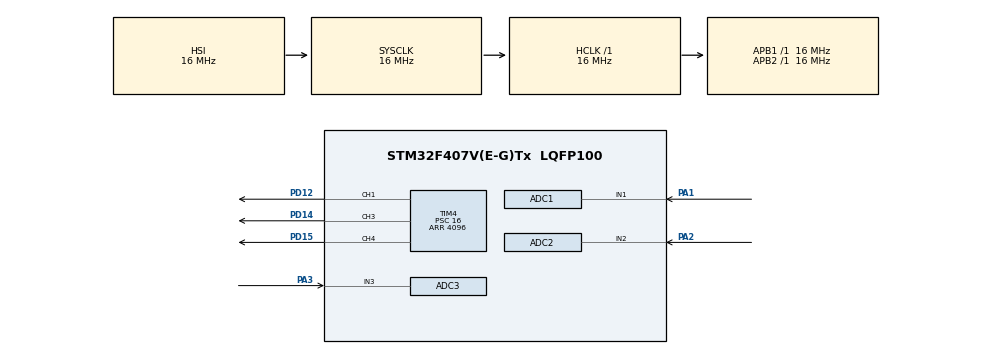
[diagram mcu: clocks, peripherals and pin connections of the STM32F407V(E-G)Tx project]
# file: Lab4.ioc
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ADC1.Channel-1\#ChannelRegularConversion=ADC_CHANNEL_1
ADC1.Mode=__NULL
ADC1.NbrOfConversionFlag=1
ADC1.Rank-1\#ChannelRegularConversion=1
ADC1.SamplingTime-1\#ChannelRegularConversion=ADC_SAMPLETIME_480CYCLES
ADC1.master=1
ADC2.Channel-3\#ChannelRegularConversion=ADC_CHANNEL_2
ADC2.NbrOfConversionFlag=1
ADC2.Rank-3\#ChannelRegularConversion=1
ADC2.SamplingTime-3\#ChannelRegularConversion=ADC_SAMPLETIME_3CYCLES
ADC3.Channel-4\#ChannelRegularConversion=ADC_CHANNEL_3
ADC3.NbrOfConversionFlag=1
ADC3.Rank-4\#ChannelRegularConversion=1
ADC3.SamplingTime-4\#ChannelRegularConversion=ADC_SAMPLETIME_3CYCLES
Mcu.Family=STM32F4
Mcu.Name=STM32F407V(E-G)Tx
Mcu.Package=LQFP100
NVIC.PriorityGroup=NVIC_PRIORITYGROUP_4
PA1.Signal=ADCx_IN1
PA2.Signal=ADCx_IN2
PA3.Signal=ADCx_IN3
PD12.Signal=S_TIM4_CH1
PD14.Signal=S_TIM4_CH3
PD15.Signal=S_TIM4_CH4
ProjectManager.HeapSize=0x200
ProjectManager.StackSize=0x400
ProjectManager.TargetToolchain=STM32CubeIDE
RCC.AHBFreq_Value=16000000
RCC.APB1Freq_Value=16000000
RCC.APB2Freq_Value=16000000
RCC.CortexFreq_Value=16000000
RCC.HSE_VALUE=25000000
RCC.HSI_VALUE=16000000
RCC.LSE_VALUE=32768
RCC.SYSCLKFreq_VALUE=16000000
RCC.VCOOutputFreq_Value=192000000
SH.ADCx_IN1.0=ADC1_IN1,IN1
SH.ADCx_IN2.0=ADC2_IN2,IN2
SH.ADCx_IN2.1=ADC1_IN2
SH.ADCx_IN3.0=ADC3_IN3,IN3
SH.ADCx_IN3.1=ADC1_IN3
SH.S_TIM4_CH1.0=TIM4_CH1,PWM Generation1 CH1
SH.S_TIM4_CH3.0=TIM4_CH3,PWM Generation3 CH3
SH.S_TIM4_CH4.0=TIM4_CH4,PWM Generation4 CH4
TIM4.Channel-PWM\ Generation1\ CH1=TIM_CHANNEL_1
TIM4.Channel-PWM\ Generation3\ CH3=TIM_CHANNEL_3
TIM4.Channel-PWM\ Generation4\ CH4=TIM_CHANNEL_4
TIM4.Period=4096
TIM4.Prescaler=16
VP_TIM4_VS_ClockSourceINT.Mode=Internal
board=custom

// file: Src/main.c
/* USER CODE BEGIN Header */
/**
  ******************************************************************************
  * @file           : main.c
  * @brief          : Main program body
  ******************************************************************************
  * @attention
  *
  * Copyright (c) 2024 STMicroelectronics.
  * All rights reserved.
  *
  * This software is licensed under terms that can be found in the LICENSE file
  * in the root directory of this software component.
  * If no LICENSE file comes with this software, it is provided AS-IS.
  *
  ******************************************************************************
  */
/* USER CODE END Header */
#include "main.h"

ADC_HandleTypeDef hadc1;
ADC_HandleTypeDef hadc2;
ADC_HandleTypeDef hadc3;

TIM_HandleTypeDef htim4;

void SystemClock_Config(void);
static void MX_GPIO_Init(void);
static void MX_ADC1_Init(void);
static void MX_TIM4_Init(void);
static void MX_ADC2_Init(void);
static void MX_ADC3_Init(void);

int main(void)
{

  /* MCU Configuration--------------------------------------------------------*/

  /* Reset of all peripherals, Initializes the Flash interface and the Systick. */
  HAL_Init();

  /* Configure the system clock */
  SystemClock_Config();

  /* Initialize all configured peripherals */
  MX_GPIO_Init();
  MX_ADC1_Init();
  MX_TIM4_Init();
  MX_ADC2_Init();
  MX_ADC3_Init();
  /* USER CODE BEGIN 2 */
  uint32_t adcValue = 0;
  volatile HAL_StatusTypeDef adcPoolResult;

  HAL_TIM_PWM_Start(&htim4, TIM_CHANNEL_1);
  TIM4->CCR1=0;
  HAL_TIM_PWM_Start(&htim4, TIM_CHANNEL_3);
  TIM4->CCR3=0;
  HAL_TIM_PWM_Start(&htim4, TIM_CHANNEL_4);
  TIM4->CCR4=0;

  /* USER CODE END 2 */

  /* Infinite loop */
  /* USER CODE BEGIN WHILE */
  while (1)
  {
	HAL_ADC_Start(&hadc1);
	adcPoolResult = HAL_ADC_PollForConversion(&hadc1, 10);
	if (adcPoolResult == HAL_OK)
	  TIM4->CCR3=HAL_ADC_GetValue(&hadc1);

	HAL_ADC_Start(&hadc2);
	adcPoolResult = HAL_ADC_PollForConversion(&hadc2, 10);
	if (adcPoolResult == HAL_OK)
	  TIM4->CCR1=HAL_ADC_GetValue(&hadc2);

	HAL_ADC_Start(&hadc3);
	adcPoolResult = HAL_ADC_PollForConversion(&hadc3, 10);
	if (adcPoolResult == HAL_OK)
	  TIM4->CCR4=HAL_ADC_GetValue(&hadc3);
    /* USER CODE END WHILE */

  }
}

void SystemClock_Config(void)
{
  RCC_OscInitTypeDef RCC_OscInitStruct = {0};
  RCC_ClkInitTypeDef RCC_ClkInitStruct = {0};

  /** Configure the main internal regulator output voltage
  */
  __HAL_RCC_PWR_CLK_ENABLE();
  __HAL_PWR_VOLTAGESCALING_CONFIG(PWR_REGULATOR_VOLTAGE_SCALE1);

  /** Initializes the RCC Oscillators according to the specified parameters
  * in the RCC_OscInitTypeDef structure.
  */
  RCC_OscInitStruct.OscillatorType = RCC_OSCILLATORTYPE_HSI;
  RCC_OscInitStruct.HSIState = RCC_HSI_ON;
  RCC_OscInitStruct.HSICalibrationValue = RCC_HSICALIBRATION_DEFAULT;
  RCC_OscInitStruct.PLL.PLLState = RCC_PLL_NONE;
  if (HAL_RCC_OscConfig(&RCC_OscInitStruct) != HAL_OK)
  {
    Error_Handler();
  }

  /** Initializes the CPU, AHB and APB buses clocks
  */
  RCC_ClkInitStruct.ClockType = RCC_CLOCKTYPE_HCLK|RCC_CLOCKTYPE_SYSCLK
                              |RCC_CLOCKTYPE_PCLK1|RCC_CLOCKTYPE_PCLK2;
  RCC_ClkInitStruct.SYSCLKSource = RCC_SYSCLKSOURCE_HSI;
  RCC_ClkInitStruct.AHBCLKDivider = RCC_SYSCLK_DIV1;
  RCC_ClkInitStruct.APB1CLKDivider = RCC_HCLK_DIV1;
  RCC_ClkInitStruct.APB2CLKDivider = RCC_HCLK_DIV1;

  if (HAL_RCC_ClockConfig(&RCC_ClkInitStruct, FLASH_LATENCY_0) != HAL_OK)
  {
    Error_Handler();
  }
}

static void MX_ADC1_Init(void)
{

  ADC_ChannelConfTypeDef sConfig = {0};

  /** Configure the global features of the ADC (Clock, Resolution, Data Alignment and number of conversion)
  */
  hadc1.Instance = ADC1;
  hadc1.Init.ClockPrescaler = ADC_CLOCK_SYNC_PCLK_DIV2;
  hadc1.Init.Resolution = ADC_RESOLUTION_12B;
  hadc1.Init.ScanConvMode = DISABLE;
  hadc1.Init.ContinuousConvMode = DISABLE;
  hadc1.Init.DiscontinuousConvMode = DISABLE;
  hadc1.Init.ExternalTrigConvEdge = ADC_EXTERNALTRIGCONVEDGE_NONE;
  hadc1.Init.ExternalTrigConv = ADC_SOFTWARE_START;
  hadc1.Init.DataAlign = ADC_DATAALIGN_RIGHT;
  hadc1.Init.NbrOfConversion = 1;
  hadc1.Init.DMAContinuousRequests = DISABLE;
  hadc1.Init.EOCSelection = ADC_EOC_SINGLE_CONV;
  if (HAL_ADC_Init(&hadc1) != HAL_OK)
  {
    Error_Handler();
  }

  /** Configure for the selected ADC regular channel its corresponding rank in the sequencer and its sample time.
  */
  sConfig.Channel = ADC_CHANNEL_1;
  sConfig.Rank = 1;
  sConfig.SamplingTime = ADC_SAMPLETIME_480CYCLES;
  if (HAL_ADC_ConfigChannel(&hadc1, &sConfig) != HAL_OK)
  {
    Error_Handler();
  }

}

static void MX_ADC2_Init(void)
{

  ADC_ChannelConfTypeDef sConfig = {0};

  /** Configure the global features of the ADC (Clock, Resolution, Data Alignment and number of conversion)
  */
  hadc2.Instance = ADC2;
  hadc2.Init.ClockPrescaler = ADC_CLOCK_SYNC_PCLK_DIV2;
  hadc2.Init.Resolution = ADC_RESOLUTION_12B;
  hadc2.Init.ScanConvMode = DISABLE;
  hadc2.Init.ContinuousConvMode = DISABLE;
  hadc2.Init.DiscontinuousConvMode = DISABLE;
  hadc2.Init.ExternalTrigConvEdge = ADC_EXTERNALTRIGCONVEDGE_NONE;
  hadc2.Init.ExternalTrigConv = ADC_SOFTWARE_START;
  hadc2.Init.DataAlign = ADC_DATAALIGN_RIGHT;
  hadc2.Init.NbrOfConversion = 1;
  hadc2.Init.DMAContinuousRequests = DISABLE;
  hadc2.Init.EOCSelection = ADC_EOC_SINGLE_CONV;
  if (HAL_ADC_Init(&hadc2) != HAL_OK)
  {
    Error_Handler();
  }

  /** Configure for the selected ADC regular channel its corresponding rank in the sequencer and its sample time.
  */
  sConfig.Channel = ADC_CHANNEL_2;
  sConfig.Rank = 1;
  sConfig.SamplingTime = ADC_SAMPLETIME_3CYCLES;
  if (HAL_ADC_ConfigChannel(&hadc2, &sConfig) != HAL_OK)
  {
    Error_Handler();
  }

}

static void MX_ADC3_Init(void)
{

  ADC_ChannelConfTypeDef sConfig = {0};

  /** Configure the global features of the ADC (Clock, Resolution, Data Alignment and number of conversion)
  */
  hadc3.Instance = ADC3;
  hadc3.Init.ClockPrescaler = ADC_CLOCK_SYNC_PCLK_DIV2;
  hadc3.Init.Resolution = ADC_RESOLUTION_12B;
  hadc3.Init.ScanConvMode = DISABLE;
  hadc3.Init.ContinuousConvMode = DISABLE;
  hadc3.Init.DiscontinuousConvMode = DISABLE;
  hadc3.Init.ExternalTrigConvEdge = ADC_EXTERNALTRIGCONVEDGE_NONE;
  hadc3.Init.ExternalTrigConv = ADC_SOFTWARE_START;
  hadc3.Init.DataAlign = ADC_DATAALIGN_RIGHT;
  hadc3.Init.NbrOfConversion = 1;
  hadc3.Init.DMAContinuousRequests = DISABLE;
  hadc3.Init.EOCSelection = ADC_EOC_SINGLE_CONV;
  if (HAL_ADC_Init(&hadc3) != HAL_OK)
  {
    Error_Handler();
  }

  /** Configure for the selected ADC regular channel its corresponding rank in the sequencer and its sample time.
  */
  sConfig.Channel = ADC_CHANNEL_3;
  sConfig.Rank = 1;
  sConfig.SamplingTime = ADC_SAMPLETIME_3CYCLES;
  if (HAL_ADC_ConfigChannel(&hadc3, &sConfig) != HAL_OK)
  {
    Error_Handler();
  }

}

static void MX_TIM4_Init(void)
{

  TIM_ClockConfigTypeDef sClockSourceConfig = {0};
  TIM_MasterConfigTypeDef sMasterConfig = {0};
  TIM_OC_InitTypeDef sConfigOC = {0};

  htim4.Instance = TIM4;
  htim4.Init.Prescaler = 16;
  htim4.Init.CounterMode = TIM_COUNTERMODE_UP;
  htim4.Init.Period = 4096;
  htim4.Init.ClockDivision = TIM_CLOCKDIVISION_DIV1;
  htim4.Init.AutoReloadPreload = TIM_AUTORELOAD_PRELOAD_DISABLE;
  if (HAL_TIM_Base_Init(&htim4) != HAL_OK)
  {
    Error_Handler();
  }
  sClockSourceConfig.ClockSource = TIM_CLOCKSOURCE_INTERNAL;
  if (HAL_TIM_ConfigClockSource(&htim4, &sClockSourceConfig) != HAL_OK)
  {
    Error_Handler();
  }
  if (HAL_TIM_PWM_Init(&htim4) != HAL_OK)
  {
    Error_Handler();
  }
  sMasterConfig.MasterOutputTrigger = TIM_TRGO_RESET;
  sMasterConfig.MasterSlaveMode = TIM_MASTERSLAVEMODE_DISABLE;
  if (HAL_TIMEx_MasterConfigSynchronization(&htim4, &sMasterConfig) != HAL_OK)
  {
    Error_Handler();
  }
  sConfigOC.OCMode = TIM_OCMODE_PWM1;
  sConfigOC.Pulse = 0;
  sConfigOC.OCPolarity = TIM_OCPOLARITY_HIGH;
  sConfigOC.OCFastMode = TIM_OCFAST_DISABLE;
  if (HAL_TIM_PWM_ConfigChannel(&htim4, &sConfigOC, TIM_CHANNEL_1) != HAL_OK)
  {
    Error_Handler();
  }
  if (HAL_TIM_PWM_ConfigChannel(&htim4, &sConfigOC, TIM_CHANNEL_3) != HAL_OK)
  {
    Error_Handler();
  }
  if (HAL_TIM_PWM_ConfigChannel(&htim4, &sConfigOC, TIM_CHANNEL_4) != HAL_OK)
  {
    Error_Handler();
  }
  HAL_TIM_MspPostInit(&htim4);

}

static void MX_GPIO_Init(void)
{

  /* GPIO Ports Clock Enable */
  __HAL_RCC_GPIOA_CLK_ENABLE();
  __HAL_RCC_GPIOD_CLK_ENABLE();

}

void Error_Handler(void)
{
  __disable_irq();
  while (1)
  {
  }
}
